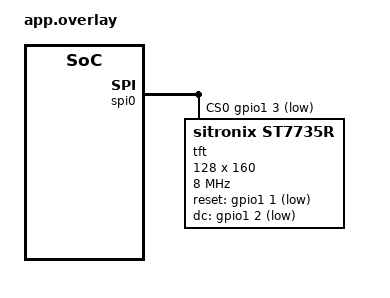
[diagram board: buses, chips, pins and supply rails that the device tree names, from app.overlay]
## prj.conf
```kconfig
#####################################
# prj.conf — Up to 11×Tx → 1×Rx (USB-CDC, Central-only)
#####################################

# ── Console 全关（USB CDC 只当“数据口”，不当 console） ──
CONFIG_SERIAL=y
CONFIG_CONSOLE=n
CONFIG_UART_CONSOLE=n
CONFIG_RTT_CONSOLE=n
CONFIG_BOOT_BANNER=n
CONFIG_SHELL=n
CONFIG_PRINTK=n

# ── USB CDC（非 console，用作数据输出到 PC） ────────────
CONFIG_USB_DEVICE_STACK=y
CONFIG_USB_DEVICE_INITIALIZE_AT_BOOT=y
CONFIG_USB_CDC_ACM=y
CONFIG_UART_LINE_CTRL=y

CONFIG_USB_DEVICE_PRODUCT="EIGENSPACE EMG"
CONFIG_USB_DEVICE_MANUFACTURER="EIGENSPACE x BioSpur"
CONFIG_USB_DEVICE_VID=0x1915
CONFIG_USB_DEVICE_PID=0x520F

# ── 蓝牙基础配置（Central-only，多连接 NUS 客户端） ────────
CONFIG_BT=y
CONFIG_BT_CENTRAL=y
CONFIG_BT_PERIPHERAL=n

# ★ 安全 / 配对（普通加密，无强制 MITM）★
CONFIG_BT_SMP=y
CONFIG_BT_BONDABLE=y
CONFIG_BT_SIGNING=y
CONFIG_BT_PRIVACY=y

# Settings，用来存 bond / 白名单
CONFIG_SETTINGS=y
CONFIG_BT_SETTINGS=y
CONFIG_FLASH=y
CONFIG_FLASH_PAGE_LAYOUT=y
CONFIG_FLASH_MAP=y

# ── NUS 客户端（Central 读 TX 的 NUS）─────────────────────
CONFIG_BT_NUS_CLIENT=y
CONFIG_BT_NUS=n

CONFIG_BT_SCAN=y
CONFIG_BT_GATT_CLIENT=y
CONFIG_BT_GATT_SERVICE_CHANGED=y
CONFIG_BT_GATT_DM=y

CONFIG_BT_DEVICE_NAME="EIGENSPACE EMG"

CONFIG_BT_PHY_UPDATE=y
CONFIG_BT_CTLR_PHY_2M=y
CONFIG_BT_USER_PHY_UPDATE=y

# ── 连接与缓冲区配置（多连接 + 高吞吐） ──────────────────
CONFIG_BT_MAX_CONN=15
CONFIG_BT_MAX_PAIRED=15

CONFIG_BT_L2CAP_TX_MTU=247
CONFIG_BT_BUF_ACL_TX_SIZE=251
CONFIG_BT_BUF_ACL_RX_SIZE=251

CONFIG_BT_L2CAP_TX_BUF_COUNT=48
CONFIG_BT_BUF_ACL_TX_COUNT=48
CONFIG_BT_BUF_ACL_RX_COUNT=48

CONFIG_BT_BUF_CMD_TX_COUNT=10
CONFIG_BT_BUF_EVT_RX_SIZE=255
CONFIG_BT_BUF_EVT_RX_COUNT=16

# 扫描过滤
CONFIG_BT_SCAN_FILTER_ENABLE=y

# ── 控制器配置（Zephyr Controller） ───────────────────────
CONFIG_BT_LL_SOFTDEVICE=n
CONFIG_BT_CTLR=y

# ── 强制 GATT 需要加密 / 订阅 ─────────────────────────────
CONFIG_BT_GATT_ENFORCE_SUBSCRIPTION=y

# ── 线程栈 / heap ───────────────────────────────────────
CONFIG_MAIN_STACK_SIZE=3072
CONFIG_SYSTEM_WORKQUEUE_STACK_SIZE=6144
CONFIG_HEAP_MEM_POOL_SIZE=65536

# ── Peripherals ─────────────────────────────────────────
CONFIG_GPIO=y
CONFIG_PINCTRL=y
CONFIG_DK_LIBRARY=y
CONFIG_NRFX_UARTE0=n

# ── 日志系统（RTT 后端；CDC 只作数据口） ────────────────
CONFIG_LOG=y
CONFIG_LOG_MODE_DEFERRED=y
CONFIG_LOG_PROCESS_THREAD=y
CONFIG_LOG_PROCESS_THREAD_STACK_SIZE=2048
CONFIG_LOG_DEFAULT_LEVEL=3

CONFIG_USE_SEGGER_RTT=y
CONFIG_LOG_BACKEND_RTT=y
CONFIG_SEGGER_RTT_BUFFER_SIZE_UP=8192
CONFIG_SEGGER_RTT_BUFFER_SIZE_DOWN=64

CONFIG_LOG_BACKEND_UART=n

# ── Reboot（如果 app_cmd.c 用到了 sys_reboot） ───────────
CONFIG_REBOOT=y
```

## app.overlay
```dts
/*
 * Copyright (c) 2023 Nordic Semiconductor ASA
 *
 * SPDX-License-Identifier: LicenseRef-Nordic-5-Clause
 */

/ {
	 chosen {
		 nordic,nus-uart = &uart0;
		 zephyr,display = &tft;
	 };
};


/* ---------- SPI0 ---------- */
&spi0 {
    status = "okay";

    /* 使用 SoC 默认 pinctrl（P0.00 / 0.01 为 SCK / MOSI） */
    pinctrl-0 = <&spi0_default>;
    pinctrl-1 = <&spi0_sleep>;
    pinctrl-names = "default", "sleep";

    /* 片选线改到 P1.03 */
    cs-gpios = <&gpio1 3 GPIO_ACTIVE_LOW>;

    /* TFT 设备节点 */
    tft: st7735r@0 {                 /* 如实际芯片是 ST7789V，可改 compatible */
        compatible = "sitronix,st7735r";
        reg = <0>;
        spi-max-frequency = <8000000>;   /* 8 MHz */

        reset-gpios = <&gpio1 1 GPIO_ACTIVE_LOW>; /* RES=P1.01 */
        dc-gpios    = <&gpio1 2 GPIO_ACTIVE_LOW>; /* RS (DC)=P1.02 */

        width  = <128>;
        height = <160>;
        rgb-order = "rgb565";
    };
};
```

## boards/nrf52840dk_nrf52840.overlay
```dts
&zephyr_udc0 {
    status = "okay";

    /* 定义 CDC-ACM 节点 (供 chosen 引用) */
    cdc_acm0: cdc_acm_uart0 {
        compatible = "zephyr,cdc-acm-uart";
        label = "CDC_ACM_0";
        status = "okay";
    };
};

/* 禁用板载 UART0，避免冲突（不接 P0.06 / P0.08） */
&uart0 {
    status = "disabled";
};
/* 禁用 QSPI 控制器（如果板子 dts 里有） */
&qspi {
    status = "disabled";
};

/* 禁用外部 SPI NOR flash（名字一般是 mx25r64、jedec_spi_nor 之类） */
&mx25r64 {
    status = "disabled";
};
/* 如果你板子的 node 叫别的名字，就把 &mx25r64 改成实际的 label */
```

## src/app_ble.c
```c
/* src/app_ble.c — BioSpur Central Multi-NUS (RX)
 *
 * - Central + 多 NUS Client（最多 11 个）
 * - 只扫描名字以 "eF" 开头的 TX
 * - 使用 Just-Works 或无加密都可以（不强制在这里提安全等级）
 * - 每个 TX 连接后必须先发 APP_KEY 帧：
 *       'K' + u32(APP_KEY_EXPECTED, little-endian)
 * - 只有 APP_KEY 正确的连接才认为是「已授权」，数据才透传到 USB CDC
 *
 * 对外 API（与 app_ble.h 对齐）：
 *   int  app_ble_init(void);
 *   int  app_ble_start_scan(void);
 *   int  app_ble_stop_scan(void);
 *   int  app_ble_connect_whitelist(void);
 *   void app_ble_disconnect_all(void);
 *   int  app_ble_get_conn_count(void);
 *   void app_ble_tsync_all(uint64_t host_ms);
 *   void app_ble_rslot(int slot, uint16_t fps, uint16_t phase_ms);
 */

#include <zephyr/kernel.h>
#include <zephyr/device.h>
#include <zephyr/settings/settings.h>
#include <zephyr/sys/byteorder.h>
#include <zephyr/sys/util.h>
#include <zephyr/sys/printk.h>

#include <zephyr/bluetooth/bluetooth.h>
#include <zephyr/bluetooth/conn.h>
#include <zephyr/bluetooth/gatt.h>
#include <zephyr/bluetooth/hci.h>

#include <bluetooth/gatt_dm.h>
#include <bluetooth/services/nus_client.h>
#include <bluetooth/services/nus.h>

#include <string.h>

#include "cdc_async.h"
#include "app_ble.h"

/* ========================= 配置参数 ========================= */

#define MAX_PEERS          11
#define CAND_MAX           16

#define APP_KEY_EXPECTED   936656u

#define EF_PREFIX_0        'E'
#define EF_PREFIX_1        'S'

/* NUS RX -> CDC queue to avoid blocking BLE callback */
#define CDC_RX_ITEM_SIZE 256
#define CDC_RX_POOL_ITEMS 64

/* ========================= 名字白名单 ========================= */
/* 只允许连接这些 eFxxxx，其他 eFxxxx 直接忽略 */

static const char *whitelist_names[] = {
    "ES64EE",// left hand
    "ESAE2E",//right hand
};

#define WHITELIST_COUNT (sizeof(whitelist_names) / sizeof(whitelist_names[0]))

static bool name_in_whitelist(const char *name)
{
    if (!name || name[0] == '\0') {
        return false;
    }

    for (int i = 0; i < WHITELIST_COUNT; i++) {
        if (strcmp(name, whitelist_names[i]) == 0) {
            return true;
        }
    }
    return false;
}

/* 自己定义一个 NUS Service UUID 实例（写死 NUS UUID，避开各种宏名差异） */
static const struct bt_uuid_128 nus_svc_uuid =
    BT_UUID_INIT_128(BT_UUID_128_ENCODE(0x6E400001, 0xB5A3,
                                        0xF393, 0xE0A9,
                                        0xE50E24DCCA9E));


/* ========================= 候选 + 连接表 ========================= */

struct cand_entry {
    bool         used;
    bt_addr_le_t addr;
    char         name[32];
};

static struct cand_entry    cands[CAND_MAX];

static struct bt_conn      *conns[MAX_PEERS];
static struct bt_nus_client nus_clients[MAX_PEERS];

static bool                 slot_authed[MAX_PEERS];
static bool                 gatt_pending[MAX_PEERS];
static int                  gatt_active_slot = -1;

static bool                 scanning;
static bool                 connecting;

struct cdc_rx_item {
    void    *fifo_reserved;
    uint16_t len;
    uint8_t  data[CDC_RX_ITEM_SIZE];
};

/* CDC async queue */
K_FIFO_DEFINE(cdc_rx_fifo);
K_MEM_SLAB_DEFINE(cdc_rx_slab,
                  sizeof(struct cdc_rx_item),
                  CDC_RX_POOL_ITEMS,
                  4);

static struct k_thread cdc_rx_thread_data;
K_THREAD_STACK_DEFINE(cdc_rx_stack, 1024);

static void cdc_rx_thread(void *a, void *b, void *c)
{
    ARG_UNUSED(a);
    ARG_UNUSED(b);
    ARG_UNUSED(c);

    while (1) {
        struct cdc_rx_item *item =
            (struct cdc_rx_item *)k_fifo_get(&cdc_rx_fifo, K_FOREVER);
        if (item) {
            (void)cdc_async_write(item->data, item->len);
            k_mem_slab_free(&cdc_rx_slab, (void *)item);
        }
    }
}

/* ========================= 内部声明 ========================= */

static void gatt_discover_try_start(void);
int         app_ble_connect_whitelist(void);   /* 供内部/外部调用 */

/* ========================= NUS 回调 ========================= */


static uint8_t nus_recv_cb(struct bt_nus_client *nus,
                           const uint8_t *data,
                           uint16_t len)
{
    int slot = -1;

    /* 找到是哪个连接（slot） */
    for (int i = 0; i < MAX_PEERS; i++) {
        if (&nus_clients[i] == nus) {
            slot = i;
            break;
        }
    }

    if (slot < 0 || len == 0) {
        return BT_GATT_ITER_CONTINUE;
    }

    /* ========= APP_KEY 硬门禁 =========== */

    /* 若收到 'K' + 4byte key，进行校验 */
    if (len == 5 && data[0] == 'K') {
        uint32_t key = sys_get_le32(&data[1]);

        if (key == APP_KEY_EXPECTED) {
            slot_authed[slot] = true;
            cdc_printf("APP_KEY OK slot %d (key=%u)\r\n", slot, key);
        } else {
            slot_authed[slot] = false;
            cdc_printf("APP_KEY BAD slot %d (key=%u)\r\n", slot, key);
        }

        /* K 帧本身不透传 */
        return BT_GATT_ITER_CONTINUE;
    }

    /* ========== ⚠️ 硬门禁：未认证禁止任何透传 ========== */
    if (!slot_authed[slot]) {
        // cdc_printf("DROP no APP_KEY slot %d len=%d\r\n", slot, len);
        return BT_GATT_ITER_CONTINUE;
    }

    /* ========== 通过验证 → 入队后由后台线程转发到 USB ========== */
    if (len <= CDC_RX_ITEM_SIZE) {
        void *block = NULL;
        if (k_mem_slab_alloc(&cdc_rx_slab, &block, K_NO_WAIT) == 0) {
            struct cdc_rx_item *item = (struct cdc_rx_item *)block;
            item->len = len;
            memcpy(item->data, data, len);
            k_fifo_put(&cdc_rx_fifo, item);
        }
    }

    return BT_GATT_ITER_CONTINUE;
}

static void nus_sent_cb(struct bt_nus_client *nus,
                        uint8_t err,
                        const uint8_t *data,
                        uint16_t len)
{
    ARG_UNUSED(nus);
    ARG_UNUSED(err);
    ARG_UNUSED(data);
    ARG_UNUSED(len);
    /* 暂时不关心 sent 回调 */
}

/* NCS 2.8: bt_nus_client_init 需要 init_param 结构体 */
static const struct bt_nus_client_init_param nus_init_param = {
    .cb = {
        .received = nus_recv_cb,
        .sent     = nus_sent_cb,
    },
};

/* ========================= 候选管理 ========================= */

static int find_or_alloc_cand(const bt_addr_le_t *addr)
{
    for (int i = 0; i < CAND_MAX; i++) {
        if (cands[i].used &&
            bt_addr_le_cmp(&cands[i].addr, addr) == 0) {
            return i;
        }
    }

    for (int i = 0; i < CAND_MAX; i++) {
        if (!cands[i].used) {
            cands[i].used = true;
            bt_addr_le_copy(&cands[i].addr, addr);
            cands[i].name[0] = '\0';
            return i;
        }
    }

    return -ENOMEM;
}

static void scan_cb(const bt_addr_le_t *addr, int8_t rssi,
                    uint8_t type, struct net_buf_simple *ad)
{
    if (type != BT_HCI_ADV_IND &&
        type != BT_HCI_ADV_DIRECT_IND &&
        type != BT_HCI_ADV_SCAN_IND &&
        type != BT_HCI_ADV_NONCONN_IND) {
        return;
    }

    bt_addr_le_t addr_copy;
    bt_addr_le_copy(&addr_copy, addr);

    char name[32] = {0};

    while (ad->len > 1) {
        uint8_t len = net_buf_simple_pull_u8(ad);
        if (len == 0 || len > ad->len) {
            break;
        }
        uint8_t type2 = net_buf_simple_pull_u8(ad);
        len--;

        if (type2 == BT_DATA_NAME_COMPLETE ||
            type2 == BT_DATA_NAME_SHORTENED) {
            uint8_t copy_len = MIN(len, sizeof(name) - 1);
            memcpy(name, ad->data, copy_len);
            name[copy_len] = '\0';
            break;
        } else {
            net_buf_simple_pull(ad, len);
        }
    }

    if (name[0] == EF_PREFIX_0 && name[1] == EF_PREFIX_1) {
        /* ★★ 白名单过滤：只保留你指定的 5 个 eFxxxx ★★ */
        if (!name_in_whitelist(name)) {
            // cdc_printf("SCAN ignore non-whitelist: %s RSSI=%d\r\n", name, rssi);
            return;
        }

        int idx = find_or_alloc_cand(&addr_copy);
        if (idx >= 0) {
            strncpy(cands[idx].name, name, sizeof(cands[idx].name) - 1);
            cands[idx].name[sizeof(cands[idx].name) - 1] = '\0';

            const uint8_t *v = addr_copy.a.val;
            cdc_printf("SCAN[%d]: %s,%02X:%02X:%02X:%02X:%02X:%02X RSSI=%d\r\n",
                       idx, cands[idx].name,
                       v[5], v[4], v[3], v[2], v[1], v[0],
                       rssi);
        }
    }
}

/* ========================= GATT 发现 ========================= */

static void gatt_discover_complete(struct bt_gatt_dm *dm,
                                   void *context)
{
    int slot = (int)(intptr_t)context;

    int err = bt_nus_handles_assign(dm, &nus_clients[slot]);
    if (err) {
        cdc_printf("NUS assign failed slot=%d err=%d\r\n", slot, err);
        bt_gatt_dm_data_release(dm);
        gatt_pending[slot] = false;
        gatt_active_slot   = -1;
        gatt_discover_try_start();
        return;
    }

    err = bt_nus_subscribe_receive(&nus_clients[slot]);
    if (err) {
        cdc_printf("NUS subscribe failed slot=%d err=%d\r\n", slot, err);
    } else {
        cdc_printf("NUS subscribed slot=%d\r\n", slot);
    }

    bt_gatt_dm_data_release(dm);
    gatt_pending[slot] = false;
    gatt_active_slot   = -1;
    gatt_discover_try_start();
}

static void gatt_discover_not_found(struct bt_conn *conn,
                                    void *context)
{
    int slot = (int)(intptr_t)context;
    ARG_UNUSED(conn);

    cdc_printf("NUS service not found slot=%d\r\n", slot);
    gatt_pending[slot] = false;
    if (gatt_active_slot == slot) {
        gatt_active_slot = -1;
    }
    gatt_discover_try_start();
}

static void gatt_discover_error(struct bt_conn *conn,
                                int err, void *context)
{
    int slot = (int)(intptr_t)context;
    ARG_UNUSED(conn);

    cdc_printf("NUS discover error slot=%d err=%d\r\n", slot, err);
    gatt_pending[slot] = false;
    if (gatt_active_slot == slot) {
        gatt_active_slot = -1;
    }
    gatt_discover_try_start();
}

static const struct bt_gatt_dm_cb gatt_dm_cb = {
    .completed         = gatt_discover_complete,
    .service_not_found = gatt_discover_not_found,
    .error_found       = gatt_discover_error,
};

static void gatt_discover_try_start(void)
{
    if (gatt_active_slot >= 0) {
        return;
    }

    for (int i = 0; i < MAX_PEERS; i++) {
        if (conns[i] && gatt_pending[i]) {
            int err = bt_gatt_dm_start(conns[i],
                                       &nus_svc_uuid.uuid,
                                       &gatt_dm_cb,
                                       (void *)(intptr_t)i);
            if (err) {
                cdc_printf("bt_gatt_dm_start slot=%d err=%d\r\n", i, err);
                gatt_pending[i] = false;
            } else {
                cdc_printf("Start GATT DM slot=%d\r\n", i);
                gatt_active_slot = i;
                return;
            }
        }
    }
}

/* ========================= 连接表管理 ========================= */

static int count_conns_internal(void)
{
    int n = 0;
    for (int i = 0; i < MAX_PEERS; i++) {
        if (conns[i]) {
            n++;
        }
    }
    return n;
}

/* 只负责找一个空 slot，不再在这里写 conns[] */
static int alloc_conn_slot(void)
{
    for (int i = 0; i < MAX_PEERS; i++) {
        if (!conns[i]) {
            slot_authed[i]  = false;
            gatt_pending[i] = false;
            return i;
        }
    }
    return -1;
}

/* ========================= 安全回调 ========================= */

static void security_changed(struct bt_conn *conn,
                             bt_security_t level,
                             enum bt_security_err err)
{
    ARG_UNUSED(conn);

    if (err) {
        cdc_printf("Security failed (err=%d, level=%d)\n", err, level);
    } else {
        cdc_printf("Security OK (level=%d)\n", level);
    }
}

/* ========================= 连接回调 ========================= */

static void connected_cb(struct bt_conn *conn, uint8_t err)
{
    struct bt_conn_info info;
    bt_conn_get_info(conn, &info);

    if (err) {
        cdc_printf("Connect failed (0x%02x)\r\n", err);
        connecting = false;
        (void)app_ble_connect_whitelist();
        return;
    }

    const uint8_t *v = info.le.dst->a.val;

    char dev_name[32] = {0};
    bool ef_ok = false;

    for (int i = 0; i < CAND_MAX; i++) {
        if (!cands[i].used) {
            continue;
        }

        if (bt_addr_le_cmp(info.le.dst, &cands[i].addr) == 0) {
            strncpy(dev_name, cands[i].name, sizeof(dev_name) - 1);
            dev_name[sizeof(dev_name) - 1] = '\0';

            if (dev_name[0] == 'E' && dev_name[1] == 'S') {
                ef_ok = true;
            }
            break;
        }
    }

    /* 再加一层：必须是白名单名字 */
    if (!ef_ok || !name_in_whitelist(dev_name)) {
        cdc_printf("Reject non-whitelist device: %02X:%02X:%02X:%02X:%02X:%02X  name=%s\n",
                   v[5], v[4], v[3], v[2], v[1], v[0],
                   dev_name);
        bt_conn_disconnect(conn, BT_HCI_ERR_REMOTE_USER_TERM_CONN);
        return;
    }

    cdc_printf("Connected to valid TX %s (%02X:%02X:%02X:%02X:%02X:%02X)\r\n",
               dev_name,
               v[5], v[4], v[3], v[2], v[1], v[0]);

    /* 这里现在不强制提 L2 安全级别 */

    /* Request low-latency params for streaming */
    const struct bt_le_conn_param *param = BT_LE_CONN_PARAM(6, 12, 0, 400);
    int perr = bt_conn_le_param_update(conn, param);
    cdc_printf("conn param update -> %d\r\n", perr);

    /* 请求 2M PHY（失败也没关系） */
    struct bt_conn_le_phy_param phy = {
        .options     = BT_CONN_LE_PHY_OPT_NONE,
        .pref_tx_phy = BT_GAP_LE_PHY_2M,
        .pref_rx_phy = BT_GAP_LE_PHY_2M,
    };

    int phy_err = bt_conn_le_phy_update(conn, &phy);
    if (phy_err) {
        cdc_printf("bt_conn_le_phy_update(2M) failed: %d\r\n", phy_err);
    } else {
        cdc_printf("Requested 2M PHY\r\n");
    }

    int slot = alloc_conn_slot();
    cdc_printf("connected_cb: slot=%d\r\n", slot);

    if (slot < 0) {
        cdc_printf("No free slot, disconnecting\r\n");
        bt_conn_disconnect(conn, BT_HCI_ERR_REMOTE_USER_TERM_CONN);
        return;
    }

    /* 这里才真正保存连接，并增加 ref */
    conns[slot]        = bt_conn_ref(conn);
    slot_authed[slot]  = false;
    gatt_pending[slot] = true;

    gatt_discover_try_start();

    connecting = false;
    (void)app_ble_connect_whitelist();
}

static void disconnected_cb(struct bt_conn *conn, uint8_t reason)
{
    cdc_printf("Disconnected (0x%02X)\n", reason);

    for (int i = 0; i < MAX_PEERS; i++) {
        if (conns[i] == conn) {
            bt_conn_unref(conns[i]);
            conns[i]        = NULL;
            slot_authed[i]  = false;
            gatt_pending[i] = false;
            if (gatt_active_slot == i) {
                gatt_active_slot = -1;
            }
            break;
        }
    }

    gatt_discover_try_start();
}

static struct bt_conn_cb conn_cb = {
    .connected        = connected_cb,
    .disconnected     = disconnected_cb,
    .security_changed = security_changed,
};

/* ========================= 扫描控制 ========================= */

static int scan_start_internal(void)
{
    struct bt_le_scan_param scan_param = {
        .type       = BT_HCI_LE_SCAN_ACTIVE,
        .options    = BT_LE_SCAN_OPT_FILTER_DUPLICATE,
        .interval   = 0x0010,
        .window     = 0x0010,
    };

    int err = bt_le_scan_start(&scan_param, scan_cb);
    if (err) {
        cdc_printf("scan_start -> %d\r\n", err);
        return err;
    }

    scanning = true;
    cdc_printf("scan_start -> 0\r\n");
    return 0;
}

static int scan_stop_internal(void)
{
    if (!scanning) {
        return 0;
    }

    int err = bt_le_scan_stop();
    if (err) {
        cdc_printf("scan_stop -> %d\r\n", err);
        return err;
    }

    scanning = false;
    cdc_printf("scan_stop -> 0\r\n");
    return 0;
}

/* ========================= 白名单连接 ========================= */

int app_ble_connect_whitelist(void)
{
    if (connecting) {
        cdc_printf("Connect already running\r\n");
        return -EBUSY;
    }

    /* 遍历所有候选 */
    for (int i = 0; i < CAND_MAX; i++) {
        if (!cands[i].used) {
            continue;
        }

        if (strlen(cands[i].name) < 2) {
            continue;
        }

        if (cands[i].name[0] != EF_PREFIX_0 ||
            cands[i].name[1] != EF_PREFIX_1) {
            continue;
        }

        /* ★ 再过滤一次白名单名字 */
        if (!name_in_whitelist(cands[i].name)) {
            continue;
        }

        /* 检查是否已经连上 */
        bool already = false;
        for (int j = 0; j < MAX_PEERS; j++) {
            if (!conns[j]) {
                continue;
            }

            struct bt_conn_info info;
            if (bt_conn_get_info(conns[j], &info) == 0 &&
                bt_addr_le_cmp(info.le.dst, &cands[i].addr) == 0) {
                already = true;
                break;
            }
        }

        if (already) {
            continue;
        }

        /* 建链前先停扫描，避免 HCI 忙不过来 */
        if (scanning) {
            int err2 = scan_stop_internal();
            if (err2) {
                cdc_printf("scan_stop before create err=%d\r\n", err2);
            }
        }

        struct bt_conn *conn = NULL;
        int err = bt_conn_le_create(&cands[i].addr,
                                    BT_CONN_LE_CREATE_CONN,
                                    BT_LE_CONN_PARAM_DEFAULT,
                                    &conn);
        if (err) {
            cdc_printf("CAND[%d]: create->%d\r\n", i, err);
            /* 建链失败，尝试恢复扫描，下次再按 BTN2 继续试 */
            if (!scanning) {
                (void)scan_start_internal();
            }
            continue;
        }

        cdc_printf("CAND[%d]: create->0 (%s)\r\n", i, cands[i].name);
        connecting = true;
        bt_conn_unref(conn);
        return 0;
    }

    cdc_printf("No more candidates to connect.\r\n");

    /* 没有可连的 candidate，确保在扫 */
    if (!scanning) {
        (void)scan_start_internal();
    }

    return 0;
}


/* ========================= 对外 API实现 ========================= */

int app_ble_start_scan(void)
{
    memset(cands, 0, sizeof(cands));
    return scan_start_internal();
}

int app_ble_stop_scan(void)
{
    return scan_stop_internal();
}

void app_ble_disconnect_all(void)
{
    for (int i = 0; i < MAX_PEERS; i++) {
        if (conns[i]) {
            bt_conn_disconnect(conns[i],
                               BT_HCI_ERR_REMOTE_USER_TERM_CONN);
        }
    }
}

int app_ble_get_conn_count(void)
{
    return count_conns_internal();
}

/* 实现 TSYNC具体协议对齐 TX 端格式 */

void app_ble_tsync_all(uint64_t host_ms)
{
    uint8_t buf[10];
    buf[0] = 0xAA;
    buf[1] = 'T';

    /* host_ms 写成小端格式，和 TX 里的 memcpy(u64) 一致 */
    sys_put_le64(host_ms, &buf[2]);

    for (int i = 0; i < MAX_PEERS; i++) {
        if (conns[i] && slot_authed[i]) {
            int err = bt_nus_client_send(&nus_clients[i], buf, sizeof(buf));
            cdc_printf("TSYNC -> slot %d err=%d\r\n", i, err);
        }
    }
}


void app_ble_rslot(int slot, uint16_t fps, uint16_t phase_ms)
{
    ARG_UNUSED(slot);
    ARG_UNUSED(fps);
    ARG_UNUSED(phase_ms);
    /* TODO: 同上，实现 R 帧二进制协议 */
}

int app_ble_init(void)
{
    int err = bt_enable(NULL);
    cdc_printf("bt_enable -> %d\n", err);
    if (err) {
        return err;
    }

    bt_conn_cb_register(&conn_cb);

    /* 加载 settings 后立即清空全部 bond，避免历史垃圾卡死连接 */
    settings_load();
    int unpair_err = bt_unpair(BT_ID_DEFAULT, NULL);
    cdc_printf("bt_unpair(all) -> %d\r\n", unpair_err);

    for (int i = 0; i < MAX_PEERS; i++) {
        bt_nus_client_init(&nus_clients[i], &nus_init_param);
        gatt_pending[i] = false;
        slot_authed[i]  = false;
        conns[i]        = NULL;
    }

    k_thread_create(&cdc_rx_thread_data, cdc_rx_stack,
                    K_THREAD_STACK_SIZEOF(cdc_rx_stack),
                    cdc_rx_thread, NULL, NULL, NULL,
                    7, 0, K_NO_WAIT);
    k_thread_name_set(&cdc_rx_thread_data, "cdc_rx");

    cdc_printf("BT initialized.\n");
    return 0;
}
```

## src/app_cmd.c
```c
#include <zephyr/kernel.h>
#include <zephyr/sys/reboot.h>
#include <string.h>
#include <stdio.h>
#include <ctype.h>

#include "cdc_async.h"
#include "app_ble.h"
#include "app_cmd.h"

K_THREAD_STACK_DEFINE(app_cmd_stack, 1024);
static struct k_thread app_cmd_thread;

/* ========== 小工具：忽略前导空格 + 不区分大小写匹配命令字 ========== */

static const char *skip_spaces(const char *s)
{
    while (*s == ' ' || *s == '\t') {
        s++;
    }
    return s;
}

/* 判断 cmd 是否以 word 开头（大小写不敏感），并且后面是空格或结束
 * 例如：
 *   cmd = "  TSYNC 123", word="tsync" → true，返回 true
 *   cmd = "TSYNCHHH",   word="tsync" → false
 */
static bool cmd_starts_with_word(const char *cmd, const char *word)
{
    cmd = skip_spaces(cmd);

    while (*word) {
        char c1 = *cmd;
        char c2 = *word;

        if (c1 == '\0') {
            return false;
        }
        /* 转小写比较 */
        if (tolower((unsigned char)c1) != tolower((unsigned char)c2)) {
            return false;
        }
        cmd++;
        word++;
    }

    /* word 比完了，cmd 当前字符必须是空白或 '\0' 才算匹配完整单词 */
    if (*cmd == '\0' || *cmd == ' ' || *cmd == '\t') {
        return true;
    }
    return false;
}

/* 从一行命令中取出命令字后面的“尾部参数串”，自动跳过命令自身和后面的空格。
 * 例如：
 *   line = "  TSYNC  12345"
 *   word = "tsync"
 *   返回指向 "12345"
 */
static const char *get_args_after_word(const char *line, const char *word)
{
    line = skip_spaces(line);

    /* 先跳过命令字本身 */
    while (*word && *line) {
        line++;
        word++;
    }

    /* 再跳过紧跟着的空格 */
    return skip_spaces(line);
}

/* ========== 命令处理 ========== */

static void handle_cmd(const char *cmd_in)
{
    const char *cmd = skip_spaces(cmd_in);

    if (*cmd == '\0') {
        return;
    }

    /* ---- scan ---- */
    if (cmd_starts_with_word(cmd, "scan")) {
        cdc_printf("CMD: scan\r\n");
        app_ble_start_scan();
        return;
    }

    /* ---- conn ---- */
    if (cmd_starts_with_word(cmd, "conn")) {
        cdc_printf("CMD: conn\r\n");
        app_ble_connect_whitelist();
        return;
    }

    /* ---- reboot ---- */
    if (cmd_starts_with_word(cmd, "reboot")) {
        cdc_printf("CMD: reboot -> sys_reboot\r\n");
        sys_reboot(SYS_REBOOT_COLD);
        return;
    }

    /* ---- stream_on / stream_off ---- */
    if (cmd_starts_with_word(cmd, "stream_on")) {
        cdc_printf("CMD: stream_on\r\n");
        cdc_async_enable(true);
        return;
    }

    if (cmd_starts_with_word(cmd, "stream_off")) {
        cdc_printf("CMD: stream_off\r\n");
        cdc_async_enable(false);
        return;
    }

    /* ---- disc / disconnect ---- */
    if (cmd_starts_with_word(cmd, "disc") ||
        cmd_starts_with_word(cmd, "disconnect")) {
        cdc_printf("CMD: disconnect all\r\n");
        app_ble_disconnect_all();
        return;
    }

    /* ---- TSYNC / tsync ----
     *
     * 支持两种用法：
     *   tsync            -> 用 RX 的 k_uptime_get() 做 host_ms
     *   tsync <host_ms>  -> 用 PC 传过来的 host_ms（你现在用的）
     */
    if (cmd_starts_with_word(cmd, "tsync")) {
        const char *args = get_args_after_word(cmd, "tsync");
        uint64_t host_ms = 0;

        if (*args == '\0') {
            /* 无参数：用 RX 自己的 uptime 作 host_ms */
            host_ms = (uint64_t)k_uptime_get();
            cdc_printf("CMD: TSYNC with local uptime=%llu ms\r\n",
                       (unsigned long long)host_ms);
        } else {
            /* 有参数：解析十进制 host_ms */
            unsigned long long tmp = 0ULL;
            int n = sscanf(args, "%llu", &tmp);
            if (n != 1) {
                cdc_printf("CMD TSYNC parse error. Usage:\r\n");
                cdc_printf("  TSYNC <host_ms>\r\n");
                return;
            }
            host_ms = (uint64_t)tmp;
            cdc_printf("CMD: TSYNC host_ms=%llu\r\n",
                       (unsigned long long)host_ms);
        }

        app_ble_tsync_all(host_ms);
        return;
    }

    /* ---- RSLOT / rslot <slot> <fps> <phase_ms> ---- */
    if (cmd_starts_with_word(cmd, "rslot")) {
        const char *args = get_args_after_word(cmd, "rslot");
        int slot = 0;
        unsigned int fps = 0;
        unsigned int phase_ms = 0;

        int n = sscanf(args, "%d %u %u", &slot, &fps, &phase_ms);
        if (n == 3) {
            cdc_printf("CMD: RSLOT slot=%d fps=%u phase=%u\r\n",
                       slot, fps, phase_ms);
            app_ble_rslot(slot, (uint16_t)fps, (uint16_t)phase_ms);
        } else {
            cdc_printf("CMD RSLOT parse error. Usage:\r\n");
            cdc_printf("  RSLOT <slot> <fps> <phase_ms>\r\n");
        }
        return;
    }

    /* ---- 未知命令 ---- */
    cdc_printf("CMD: unknown '%s'\r\n", cmd_in);
}

/* ========== CDC 读取线程：按“整行”处理命令 ========== */

static void app_cmd_thread_fn(void *a, void *b, void *c)
{
    ARG_UNUSED(a);
    ARG_UNUSED(b);
    ARG_UNUSED(c);

    char buf[64];
    int  pos = 0;

    cdc_printf("app_cmd thread started. Type commands: scan/conn/disc/TSYNC/RSLOT...\r\n");

    while (1) {
        uint8_t ch;
        int ret = cdc_async_poll_in(&ch);
        if (ret == 0) {
            if (ch == '\r' || ch == '\n') {
                if (pos > 0) {
                    buf[pos] = '\0';
                    handle_cmd(buf);
                    pos = 0;
                }
                continue;
            }

            if (pos < (int)sizeof(buf) - 1) {
                buf[pos++] = (char)ch;
                buf[pos]   = '\0';
            } else {
                /* 太长了，直接丢掉这一行，避免一直占满缓冲 */
                pos = 0;
                cdc_printf("CMD: line too long, dropped.\r\n");
            }
        } else {
            k_msleep(10);
        }
    }
}

int app_cmd_init(void)
{
    k_thread_create(&app_cmd_thread,
                    app_cmd_stack,
                    K_THREAD_STACK_SIZEOF(app_cmd_stack),
                    app_cmd_thread_fn,
                    NULL, NULL, NULL,
                    5, 0, K_NO_WAIT);

    k_thread_name_set(&app_cmd_thread, "app_cmd");
    return 0;
}
```
